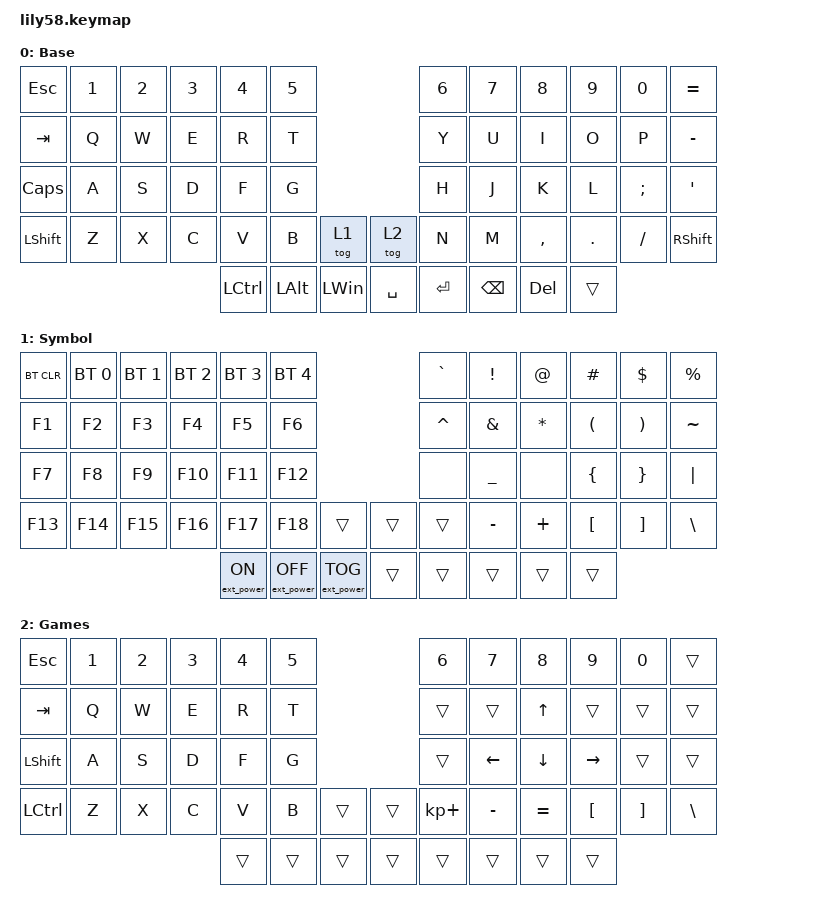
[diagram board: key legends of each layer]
/*
 * Copyright (c) 2020 The ZMK Contributors
 *
 * SPDX-License-Identifier: MIT
 */

#include <behaviors.dtsi>
#include <dt-bindings/zmk/bt.h>
#include <dt-bindings/zmk/ext_power.h>
#include <dt-bindings/zmk/keys.h>

/ {
    keymap {
        compatible = "zmk,keymap";

               default_layer {
// ------------------------------------------------------------------------------------------------------------
// |  ESC   |  1  |  2  |  3   |  4   |  5   |                   |  6   |  7    |  8    |  9   |   0   |  =/+  |
// |  TAB   |  Q  |  W  |  E   |  R   |  T   |                   |  Y   |  U    |  I    |  O   |   P   |   -   |
// | CAPS   |  A  |  S  |  D   |  F   |  G   |                   |  H   |  J    |  K    |  L   |   ;   |   '   |
// | LSHIFT |  Z  |  X  |  C   |  V   |  B   |  LLay  |  | ULay  |  N   |  M    |  ,    |  .   |   /   | RSHIFT|
//                      | LCTRL| LALT | LWIN |  SPACE |  | ENTER | BSPC | DEL   |       |
            display-name = "Base";
            bindings = <
&kp ESC    &kp N1  &kp N2  &kp N3    &kp N4      &kp N5                                      &kp N6     &kp N7     &kp N8     &kp N9   &kp N0    &kp EQUAL
&kp TAB    &kp Q   &kp W   &kp E     &kp R       &kp T                                       &kp Y      &kp U      &kp I      &kp O    &kp P     &kp MINUS
&kp CAPS   &kp A   &kp S   &kp D     &kp F       &kp G                                       &kp H      &kp J      &kp K      &kp L    &kp SEMI  &kp SQT
&kp LSHIFT &kp Z   &kp X   &kp C     &kp V       &kp B               &tog 1       &tog 2     &kp N      &kp M      &kp COMMA  &kp DOT  &kp FSLH  &kp RSHFT
                                  &kp LCTRL  &kp LALT  &kp LEFT_WIN  &kp SPACE    &kp ENTER  &kp BSPC   &kp DELETE &trans
            >;
        };

        lower_layer {
// ------------------------------------------------------------------------------------------------------------
// | BTCLR | BT1 | BT2 |  BT3 |  BT4 |  BT5 |                   |   `  |  !    |  @    |  #   |  $    |  %    |
// |  F1   | F2  | F3  |  F4  |  F5  |  F6  |                   |  ^   |  &    |  *    |  (   |   )   |   ~   |
// |  F7   | F8  | F9  |  F10 |  F11 |  F12 |                   |      |   _   |       |  {   |   }   |  "|"  |
// |  F13  | F14 | F15 |  F16 |  F17 |  F18 |        |  |       |  +   |   -   |   =   |  [   |   ]   |   \   |
//                     |      |      |      |        |  |       |      |       |       |
            display-name = "Symbol";
            bindings = <
&bt BT_CLR  &bt BT_SEL 0     &bt BT_SEL 1       &bt BT_SEL 2       &bt BT_SEL 3      &bt BT_SEL 4                    	  &kp GRAVE  &kp EXCL   &kp AT     &kp HASH  &kp DOLLAR &kp PRCNT
&kp F1      &kp F2           &kp F3             &kp F4             &kp F5            &kp F6                          	  &kp CARET  &kp AMPS   &kp ASTRK  &kp LPAR  &kp RPAR   &kp TILDE
&kp F7      &kp F8           &kp F9             &kp F10            &kp F11           &kp F12                         	  &none      &kp UNDER  &none      &kp LBRC  &kp RBRC   &kp PIPE
&kp F13     &kp F14          &kp F15            &kp F16            &kp F17           &kp F18       	&trans  &trans    &trans     &kp MINUS  &kp PLUS   &kp LBKT  &kp RBKT   &kp BSLH
						&ext_power EP_ON   &ext_power EP_OFF &ext_power EP_TOG  &trans  &trans    &trans     &trans     &trans
            >;
        };

        raise_layer {
// ------------------------------------------------------------------------------------------------------------
// |  ESC  |  1  |  2  |  3   |  4   |  5   |                   |  6   |   7   |   8   |  9   |   0   |       |
// |  TAB  |  Q  |  W  |  E   |  R   |  T   |                   |      |       |   ^   |      |       |       |
// | SHIFT |  A  |  S  |  D   |  F   |  G   |                   |      |   <-  |   v   |  ->  |       |       |
// | LCTRL |  Z  |  X  |  C   |  V   |  B   |        |  |       |  +   |   -   |   =   |  [   |   ]   |   \   |
//                     |      |      |      |        |  |       |      |       |       |
            display-name = "Games";
            bindings = <
&kp ESCAPE      &kp NUMBER_1  &kp NUMBER_2  &kp NUMBER_3  &kp NUMBER_4  &kp NUMBER_5                          &kp NUMBER_6  &kp NUMBER_7  &kp NUMBER_8  &kp N9     &kp N0    &trans
&kp TAB         &kp Q         &kp W         &kp E         &kp R         &kp T                                 &trans        &trans        &kp UP_ARROW  &trans     &trans    &trans
&kp LEFT_SHIFT  &kp A         &kp S         &kp D         &kp F         &kp G                                 &trans        &kp LEFT      &kp DOWN      &kp RIGHT  &trans    &trans
&kp LCTRL       &kp Z         &kp X         &kp C         &kp V         &kp B         &trans       &trans     &kp KP_PLUS   &kp MINUS     &kp EQUAL     &kp LBKT   &kp RBKT  &kp BSLH
                                            &trans        &trans        &trans        &trans       &trans     &trans        &trans        &trans
            >;
        };
    };
};
